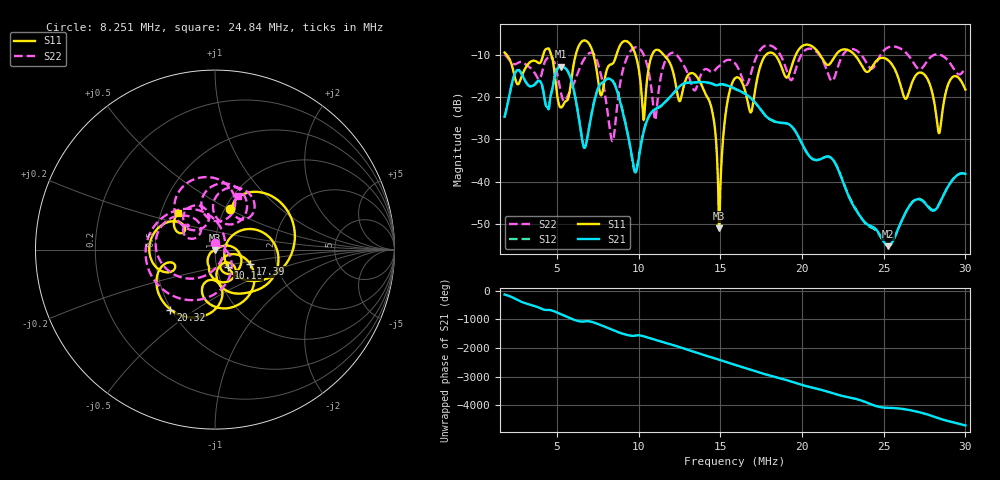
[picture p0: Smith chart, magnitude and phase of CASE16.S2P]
!Agilent Technologies,E5061B,MY49101568,A.02.00
!Date: Wed Mar 01 15:34:40 2023
!Data & Calibration Information:
!Freq	S11:SOLT2(OFF)	S21:SOLT2(OFF)	S12:SOLT2(OFF)	S22:SOLT2(OFF)
# Hz S dB R 50
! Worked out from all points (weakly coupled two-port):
!   1155 points, 1.8 MHz to 30 MHz, reference 50 ohm
!   highest |S21| = -12.79 dB at 5.246 MHz (marker M1); lowest = -55.3 dB at 25.28 MHz (marker M2)
!   lowest |S11| = -51.1 dB at 14.92 MHz (marker M3), VSWR 1.01, Z = 50 - j0.279 ohm
!   |S11| at or under -10 dB: 1.924 MHz to 4.163 MHz (2.239 MHz wide, 73.6 % of centre); 11.53 MHz to 17.8 MHz (6.269 MHz wide, 42.8 % of centre); 23.22 MHz to end of sweep (the widest 3 of 8)
!   |S22| runs from -30.4 to -7.8 dB; largest |S21 - S12| = 0.0049
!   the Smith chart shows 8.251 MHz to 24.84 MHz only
!   S11 on the Smith chart (normalised r, x): 8.251 MHz: 1.05, +0.51; 10.16 MHz: 1.13, -0.23; 17.39 MHz: 1.46, -0.24; 20.32 MHz: 0.50, -0.40; 24.84 MHz: 0.61, +0.27
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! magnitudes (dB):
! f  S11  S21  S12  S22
! 1.8 MHz  -9.5  -24.7  -24.7  -9.9
! 2.606 MHz  -17.0  -13.6  -13.6  -12.0
! 4.488 MHz  -8.5  -22.9  -22.9  -10.4
! 5.246 MHz  -22.5  -12.8  -12.8  -19.0
! 6.516 MHz  -6.9  -29.4  -29.2  -12.1
! 7.396 MHz  -12.8  -19.4  -19.3  -10.8
! 8.251 MHz  -12.4  -15.7  -15.7  -28.1
! 9.742 MHz  -9.3  -37.2  -37.5  -8.3
! 10.16 MHz  -18.2  -31.1  -30.7  -9.0
! 11.21 MHz  -8.9  -22.5  -22.6  -19.1
! 14.31 MHz  -20.8  -16.6  -16.7  -13.7
! 14.92 MHz  -51.1  -17.1  -17.1  -12.8
! 15.9 MHz  -15.6  -18.0  -18.1  -12.0
! 16.85 MHz  -23.6  -20.2  -20.2  -14.7
! 17.39 MHz  -13.5  -22.5  -22.6  -9.1
! 20.32 MHz  -7.6  -33.3  -33.3  -8.7
! 20.62 MHz  -8.0  -34.6  -34.6  -8.7
! 24.84 MHz  -10.8  -53.1  -53.3  -9.8
! 25.28 MHz  -11.3  -55.3  -55.1  -8.2
! 25.31 MHz  -11.4  -55.3  -55.2  -8.2
! 28.39 MHz  -28.6  -45.4  -45.3  -9.9
! 30 MHz  -18.2  -38.2  -38.2  -13.1
